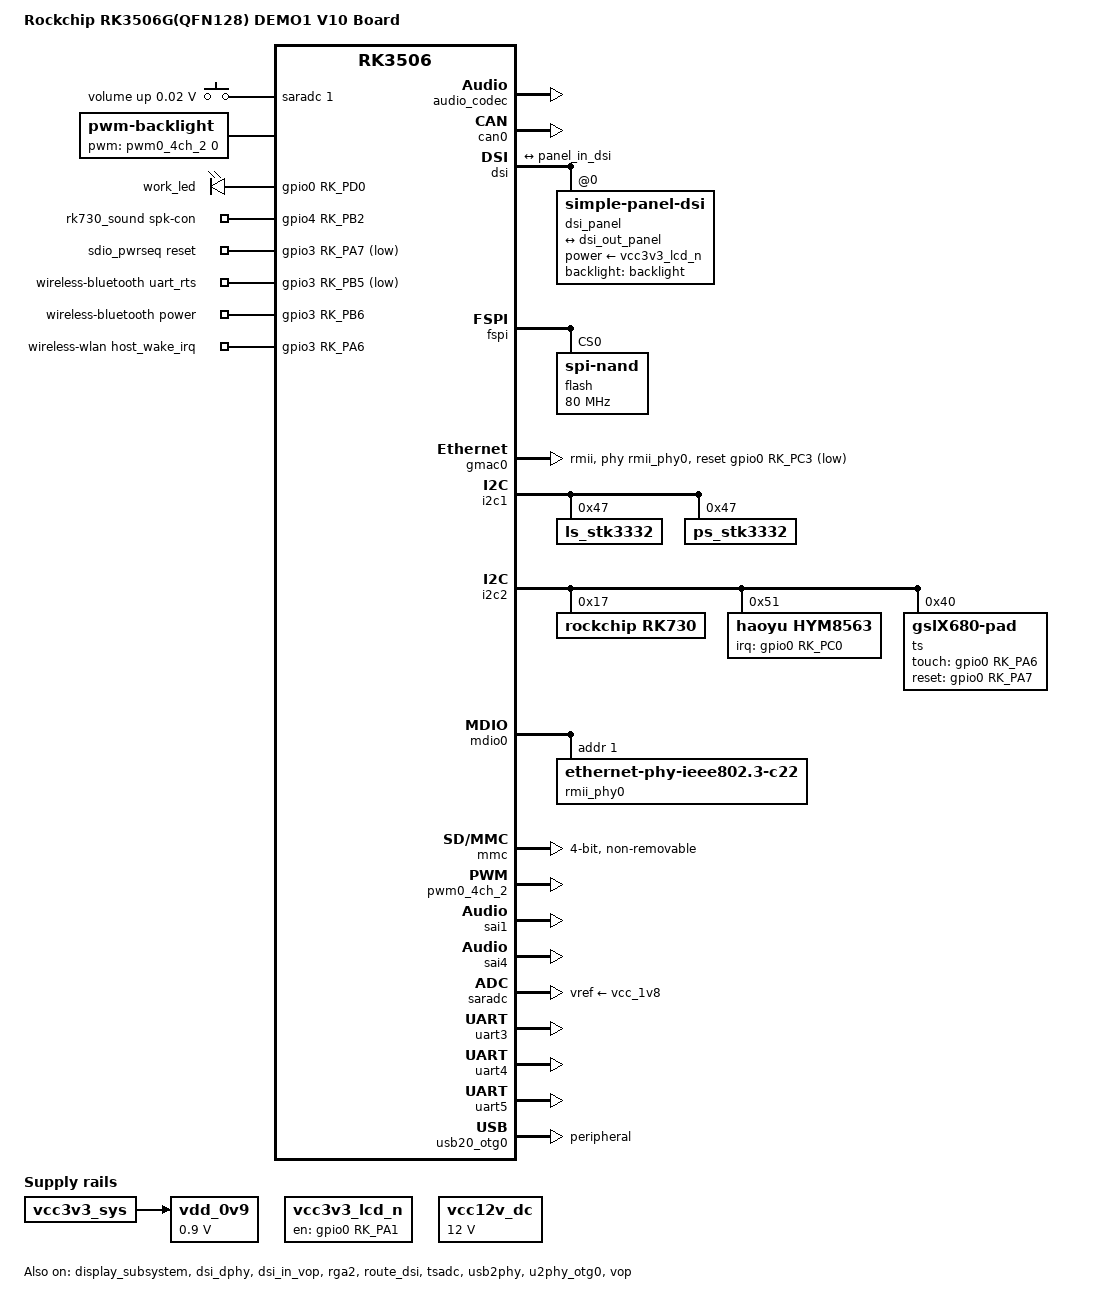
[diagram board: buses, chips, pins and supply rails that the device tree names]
// SPDX-License-Identifier: (GPL-2.0+ OR MIT)
/*
 * Copyright (c) 2024 Rockchip Electronics Co., Ltd.
 */

/dts-v1/;

#include <dt-bindings/display/drm_mipi_dsi.h>
#include <dt-bindings/input/rk-input.h>
#include <dt-bindings/sensor-dev.h>
#include "rk3506.dtsi"
#include "rk3506-rk801.dtsi"

/* TODO:
	1. RK801
	2. DISPLAY
	3. AUDIO
	4. ZIGBEE
	5. Light/Proximity Sensor
	6. GMAC (bottom board)
	---------------
	usb ? otg vbus
	rtc ? clk out
	--------------
	led require config: CONFIG_LEDS_TRIGGER_HEARTBEAT / CONFIG_LEDS_GPIO
	rtc require config: CONFIG_RTC_DRV_HYM8563
*/

/ {
	model = "Rockchip RK3506G(QFN128) DEMO1 V10  Board";
	compatible = "rockchip,rk3506g-demo-display-control", "rockchip,rk3506";

	chosen {
		bootargs = "earlycon=uart8250,mmio32,0xff0a0000 console=ttyFIQ0 ubi.mtd=5 ubi.block=0,rootfs root=/dev/ubiblock0_0 rootfstype=squashfs rootwait snd_aloop.index=7 snd_aloop.use_raw_jiffies=1 storagemedia=mtd androidboot.storagemedia=mtd androidboot.mode=normal";
	};

	adc_keys: adc-keys {
		compatible = "adc-keys";
		io-channels = <&saradc 1>;
		io-channel-names = "buttons";
		keyup-threshold-microvolt = <1800000>;
		poll-interval = <100>;

		vol-up-key {
			label = "volume up";
			linux,code = <KEY_VOLUMEUP>;
			press-threshold-microvolt = <20000>;
		};
	};

	backlight: backlight {
		compatible = "pwm-backlight";
		pwms = <&pwm0_4ch_2 0 25000 0>;
		brightness-levels = <
			  0  20  20  21  21  22  22  23
			 23  24  24  25  25  26  26  27
			 27  28  28  29  29  30  30  31
			 31  32  32  33  33  34  34  35
			 35  36  36  37  37  38  38  39
			 40  41  42  43  44  45  46  47
			 48  49  50  51  52  53  54  55
			 56  57  58  59  60  61  62  63
			 64  65  66  67  68  69  70  71
			 72  73  74  75  76  77  78  79
			 80  81  82  83  84  85  86  87
			 88  89  90  91  92  93  94  95
			 96  97  98  99 100 101 102 103
			104 105 106 107 108 109 110 111
			112 113 114 115 116 117 118 119
			120 121 122 123 124 125 126 127
			128 129 130 131 132 133 134 135
			136 137 138 139 140 141 142 143
			144 145 146 147 148 149 150 151
			152 153 154 155 156 157 158 159
			160 161 162 163 164 165 166 167
			168 169 170 171 172 173 174 175
			176 177 178 179 180 181 182 183
			184 185 186 187 188 189 190 191
			192 193 194 195 196 197 198 199
			200 201 202 203 204 205 206 207
			208 209 210 211 212 213 214 215
			216 217 218 219 220 221 222 223
			224 225 226 227 228 229 230 231
			232 233 234 235 236 237 238 239
			240 241 242 243 244 245 246 247
			248 249 250 251 252 253 254 255
		>;
		default-brightness-level = <200>;
		status = "okay";
	};

/*	extcon_usb: extcon-usb {
		compatible = "linux,extcon-usb-gpio";
		vbus-gpio = <&gpio1 RK_PC5 GPIO_ACTIVE_LOW>;
		pinctrl-names = "default";
		pinctrl-0 = <&usb_extcon_vbus>;
		status = "okay";
	};*/

	fiq_debugger: fiq-debugger {
		compatible = "rockchip,fiq-debugger";
		rockchip,serial-id = <0>;
		rockchip,wake-irq = <0>;
		rockchip,irq-mode-enable = <1>;
		rockchip,baudrate = <1500000>;	/* Only 115200 and 1500000 */
		interrupts = <GIC_SPI 115 IRQ_TYPE_LEVEL_HIGH>;
	};

	leds: leds {
		compatible = "gpio-leds";

		work_led: work-led {
			gpios = <&gpio0 RK_PD0 GPIO_ACTIVE_HIGH>;
			linux,default-trigger = "heartbeat";
		};
	};

	reserved-memory {
		#address-cells = <1>;
		#size-cells = <1>;
		ranges;

		cma: linux,cma {
			compatible = "shared-dma-pool";
			reusable;
			size = <0x2000000>;
			linux,cma-default;
		};

		drm_logo: drm-logo@0 {
			compatible = "rockchip,drm-logo";
			reg = <0x0 0x0>;
		};
	};

	/* Only lineout, no hpout */
	rk730_sound: rk730-sound {
		status = "okay";
		compatible = "rockchip,multicodecs-card";
		rockchip,card-name = "rockchip-rk730";
		spk-con-gpio = <&gpio4 RK_PB2 GPIO_ACTIVE_HIGH>;
		rockchip,pre-power-on-delay-ms = <30>;
		rockchip,post-power-down-delay-ms = <40>;
		rockchip,format = "i2s";
		rockchip,mclk-fs = <256>;
		rockchip,mclk-fs-mapping = <256 1024>;
		rockchip,cpu = <&sai_dais>;
		rockchip,codec = <&rk730>, <&audio_codec>;
		rockchip,audio-routing =
			"Headphone", "LOUT1",
			"Headphone", "ROUT1",
			"Speaker", "LOUT2",
			"Speaker", "ROUT2",
			"Headphone", "Headphone Power",
			"Headphone", "Headphone Power",
			"Speaker", "Speaker Power",
			"Speaker", "Speaker Power",
			"MIC2", "Main Mic",
			"MIC1", "Headset Mic";
	};

	sai_dais: sai-dais {
		status = "okay";
		compatible = "rockchip,multi-dais";
		dais = <&sai1>, <&sai4>;
		capture,channel-mapping = <2 2>;
		playback,channel-mapping = <2 0>;
		mclk-fs-mapping = <256 1024>;
	};

	sdio_pwrseq: sdio-pwrseq {
		compatible = "mmc-pwrseq-simple";
		pinctrl-names = "default";
		pinctrl-0 = <&wifi_enable_h>;

		/*
		 * On the module itself this is one of these (depending
		 * on the actual card populated):
		 * - SDIO_RESET_L_WL_REG_ON
		 * - PDN (power down when low)
		 */
		reset-gpios = <&gpio3 RK_PA7 GPIO_ACTIVE_LOW>;
	};

	vcc3v3_lcd_n: vcc3v3-lcd0-n {
		compatible = "regulator-fixed";
		enable-active-high;
		gpio = <&gpio0 RK_PA1 GPIO_ACTIVE_HIGH>;
		regulator-name = "vcc3v3_lcd_n";
		regulator-boot-on;
		regulator-state-mem {
			regulator-off-in-suspend;
		};
	};

	vcc12v_dc: vcc12v-dc {
		compatible = "regulator-fixed";
		regulator-name = "vcc12v_dc";
		regulator-always-on;
		regulator-boot-on;
		regulator-min-microvolt = <12000000>;
		regulator-max-microvolt = <12000000>;
	};

	vdd_0v9: vdd-0v9 {
		compatible = "regulator-fixed";
		regulator-name = "vdd_0v9";
		regulator-always-on;
		regulator-boot-on;
		regulator-min-microvolt = <900000>;
		regulator-max-microvolt = <900000>;
		vin-supply = <&vcc3v3_sys>;
	};

	wireless-bluetooth {
		compatible = "bluetooth-platdata";
		uart_rts_gpios = <&gpio3 RK_PB5 GPIO_ACTIVE_LOW>;
		pinctrl-names = "default", "rts_gpio";
		pinctrl-0 = <&uart5m0_rtsn_pins>;
		pinctrl-1 = <&uart5_gpios>;
		BT,power_gpio = <&gpio3 RK_PB6 GPIO_ACTIVE_HIGH>;
		status = "okay";
	};

	wireless-wlan {
		compatible = "wlan-platdata";
		rockchip,grf = <&grf>;
		pinctrl-names = "default";
		pinctrl-0 = <&wifi_wake_host>;
		wifi_chip_type = "rk960";
		WIFI,host_wake_irq = <&gpio3 RK_PA6 GPIO_ACTIVE_HIGH>;
		status = "okay";
	};
};

&audio_codec {
	status = "okay";
};

&can0 {
	assigned-clocks = <&cru CLK_CAN0>;
	assigned-clock-rates = <300000000>;
	pinctrl-0 = <&rm_io27_can0_tx &rm_io28_can0_rx>;
	pinctrl-names = "default";
	status = "okay";
};

&cpu0 {
	cpu-supply = <&vdd_cpu>;
	status = "okay";
};

&display_subsystem {
	logo-memory-region = <&drm_logo>;
	status = "okay";
};

&dsi {
	status = "okay";
	rockchip,lane-rate = <450>;
	dsi_panel: panel@0 {
		status = "okay";
		compatible = "simple-panel-dsi";
		reg = <0>;
		backlight = <&backlight>;
		prepare-delay-ms = <5>;
		reset-delay-ms = <1>;
		init-delay-ms = <80>;
		disable-delay-ms = <10>;
		unprepare-delay-ms = <5>;

		width-mm = <83>;
		height-mm = <83>;

		dsi,flags = <(MIPI_DSI_MODE_VIDEO | MIPI_DSI_MODE_VIDEO_BURST |
			      MIPI_DSI_MODE_LPM | MIPI_DSI_MODE_NO_EOT_PACKET)>;
		dsi,format = <MIPI_DSI_FMT_RGB888>;
		dsi,lanes  = <2>;
		panel-init-sequence = [
			39 00 06 ff 77 01 00 00 10
			39 00 03 c0 3b 00
			39 00 03 c1 0d 02
			39 00 03 c2 21 08
			39 00 11 b0 00 11 18 0e 11 06 07 08 07 22 04 12 0f aa 31 18
			39 00 11 b1 00 11 19 0e 12 07 08 08 08 22 04 11 11 a9 32 18
			39 00 06 ff 77 01 00 00 11
			15 00 02 b0 60
			15 00 02 b1 30
			15 00 02 b2 87
			15 00 02 b3 80
			15 00 02 b5 49
			15 00 02 b7 85
			15 00 02 b8 21
			15 00 02 c1 78
			15 14 02 c2 78
			39 00 04 e0 00 1b 02
			39 00 0c e1 08 a0 00 00 07 a0 00 00 00 44 44
			39 00 0d e2 11 11 44 44 ed a0 00 00 ec a0 00 00
			39 00 05 e3 00 00 11 11
			39 00 03 e4 44 44
			39 00 11 e5 0a e9 d8 a0 0c eb d8 a0 0e ed d8 a0 10 ef d8 a0
			39 00 05 e6 00 00 11 11
			39 00 03 e7 44 44
			39 00 11 e8 09 e8 d8 a0 0b ea d8 a0 0d ec d8 a0 0f ee d8 a0
			39 00 08 eb 02 00 e4 e4 88 00 40
			39 00 03 ec 3c 00
			39 00 11 ed ab 89 76 54 02 ff ff ff ff ff ff 20 45 67 98 ba
			/*
			39 00 06 ff 77 01 00 00 12
			15 00 02 d1 81
			15 00 02 d2 08
			*/
			39 00 06 ff 77 01 00 00 00
			15 00 02 36 00
			05 c8 01 11
			05 32 01 29
		];

		disp_timings0: display-timings {
			native-mode = <&dsi_timing0>;
			dsi_timing0: timing0 {
				clock-frequency = <20606400>;
				hactive = <480>;
				vactive = <480>;
				hfront-porch = <80>;
				hsync-len = <8>;
				hback-porch = <80>;
				vfront-porch = <18>;
				vsync-len = <2>;
				vback-porch = <30>;
				hsync-active = <0>;
				vsync-active = <0>;
				de-active = <0>;
				pixelclk-active = <0>;
			};
		};

		ports {
			#address-cells = <1>;
			#size-cells = <0>;

			port@0 {
				reg = <0>;
				panel_in_dsi: endpoint {
					remote-endpoint = <&dsi_out_panel>;
				};
			};
		};
	};

	ports {
		#address-cells = <1>;
		#size-cells = <0>;

		port@1 {
			reg = <1>;
			dsi_out_panel: endpoint {
				remote-endpoint = <&panel_in_dsi>;
			};
		};
	};

};

&dsi_dphy {
	status = "okay";
};

&dsi_in_vop {
	status = "okay";
};

&dsi_panel {
	power-supply = <&vcc3v3_lcd_n>;
};

&fspi {
	status = "okay";

	flash@0 {
		compatible = "spi-nand";
		reg = <0>;
		spi-max-frequency = <80000000>;
		spi-rx-bus-width = <4>;
		spi-tx-bus-width = <1>;
	};
};

&gmac0 {
	phy-mode = "rmii";
	clock_in_out = "output";

	snps,reset-gpio = <&gpio0 RK_PC3 GPIO_ACTIVE_LOW>;
	snps,reset-active-low;
	snps,reset-delays-us = <0 20000 100000>;

	pinctrl-names = "default";
	pinctrl-0 = <&eth_rmii0_miim_pins
		     &eth_rmii0_tx_bus2_pins
		     &eth_rmii0_rx_bus2_pins
		     &eth_rmii0_clk_pins>;

	phy-handle = <&rmii_phy0>;
	status = "okay";
};

&i2c1 {
	status = "okay";
	pinctrl-names = "default";
	pinctrl-0 = <&rm_io25_i2c1_scl &rm_io26_i2c1_sda>;

	ls_stk3332: light@47 {
		compatible = "ls_stk3332";
		reg = <0x47>;
		type = <SENSOR_TYPE_LIGHT>;
		irq_enable = <0>;
		als_threshold_high = <100>;
		als_threshold_low = <10>;
		als_ctrl_gain = <2>; /* 0:x1 1:x4 2:x16 3:x64 */
		poll_delay_ms = <100>;
		status = "okay";
	};

	ps_stk3332: proximity@47 {
		compatible = "ps_stk3332";
		reg = <0x47>;
		type = <SENSOR_TYPE_PROXIMITY>;
		//pinctrl-names = "default";
		//pinctrl-0 = <&stk_int_l>;
		//irq-gpio = <&gpio1 RK_PB6 IRQ_TYPE_LEVEL_LOW>;
		//irq_enable = <1>;
		ps_threshold_high = <0x64>;
		ps_threshold_low = <0x50>;
		ps_ctrl_gain = <3>; /* 0:x1 1:x2 2:x5 3:x8 */
		ps_led_current = <5>; /* 0:3.125mA 1:6.25mA 2:12.5mA 3:25mA 4:50mA 5:100mA*/
		poll_delay_ms = <100>;
		status = "okay";
	};
};

&i2c2 {
	status = "okay";
	pinctrl-names = "default";
	pinctrl-0 = <&rm_io4_i2c2_scl &rm_io5_i2c2_sda>;

	rk730: rk730@17 {
		#sound-dai-cells = <0>;
		compatible = "rockchip,rk730";
		reg = <0x17>;
		clocks = <&mclkout_sai1>;
		clock-names = "mclk";
		assigned-clocks = <&mclkout_sai1>;
		assigned-clock-rates = <12288000>;
		pinctrl-names = "default";
		pinctrl-0 = <&rm_io8_sai1_mclk>;
	};

	hym8563: hym8563@51 {
		compatible = "haoyu,hym8563";
		reg = <0x51>;
		//#clock-cells = <0>;
		//clock-frequency = <32768>;
		//clock-output-names = "hym8563";
		pinctrl-names = "default";
		pinctrl-0 = <&hym8563_int>;
		interrupt-parent = <&gpio0>;
		interrupts = <RK_PC0 IRQ_TYPE_LEVEL_LOW>;

		wakeup-source;
	};

	ts: ts@40 {
		compatible = "gslX680-pad";
		reg = <0x40>;
		touch-gpio = <&gpio0 RK_PA6 IRQ_TYPE_LEVEL_HIGH>;
		reset-gpio = <&gpio0 RK_PA7 IRQ_TYPE_LEVEL_HIGH>;
		pinctrl-names = "default";
		pinctrl-0 = <&tp_gpio>;
		screen_max_x = <480>;
		screen_max_y = <480>;
		revert_x = <0>;
		revert_y = <0>;
		revert_xy = <1>;
		chip_id = <2>;
		status = "okay";
	};
};

&mdio0 {
	rmii_phy0: phy@1 {
		compatible = "ethernet-phy-ieee802.3-c22";
		reg = <0x1>;
	};
};

&mmc {
	max-frequency = <30000000>;
	bus-width = <4>;
	cap-sd-highspeed;
	no-sd;
	no-mmc;
	pinctrl-names = "default";
	pinctrl-0 = <&sdmmc_clk_pins &sdmmc_cmd_pins &sdmmc_bus4_pins>;
	ignore-pm-notify;
	keep-power-in-suspend;
	non-removable;
	mmc-pwrseq = <&sdio_pwrseq>;
	//sd-uhs-sdr104;
	status = "okay";
};

&pinctrl {
	/* usb {
		usb_extcon_vbus: usb-extcon-vbus {
			rockchip,pins = <1 RK_PC5 RK_FUNC_GPIO &pcfg_pull_none>;
		};
	}; */

	hym8563 {
		hym8563_int: hy8563-int {
			rockchip,pins = <0 RK_PC0 RK_FUNC_GPIO &pcfg_pull_up>;
		};
	};

	pmic {
		pmic_int: pmic-int {
			rockchip,pins = <0 RK_PC2 RK_FUNC_GPIO &pcfg_pull_up>;
		};
	};

	psensor {
		stk_int_l: stk-int-l {
			rockchip,pins = <1 RK_PB6 RK_FUNC_GPIO &pcfg_pull_up>;
		};
	};

	sdio-pwrseq {
		wifi_enable_h: wifi-enable-h {
			rockchip,pins = <3 RK_PA7 RK_FUNC_GPIO &pcfg_pull_none>;
		};
	};


	tp {
		tp_gpio: tp-gpio {
			rockchip,pins = <0 RK_PA6 RK_FUNC_GPIO &pcfg_pull_none>,
					<0 RK_PA7 RK_FUNC_GPIO &pcfg_pull_down>;
		};
	};

	tsadc {
		wdt_tsadc_gpio: wdt-tsadc-gpio {
			rockchip,pins = <0 RK_PC5 RK_FUNC_GPIO &pcfg_pull_none>;
		};
	};

	wireless-bluetooth {
		uart5_gpios: uart5-gpios {
			rockchip,pins = <3 RK_PB5 RK_FUNC_GPIO &pcfg_pull_none>;
		};
	};

	wireless-wlan {
		wifi_wake_host: wifi-wake-host {
			rockchip,pins = <3 RK_PA6 RK_FUNC_GPIO &pcfg_pull_up>;
		};
	};
};

&pwm0_4ch_2 {
	pinctrl-names = "active";
	pinctrl-0 = <&rm_io3_pwm0_ch2>;
	status = "okay";
};

&rga2 {
	status = "okay";
};

&rockchip_suspend {
	rockchip,sleep-mode-config = <
		(0
		| RKPM_ARMOFF_DDRPD
		| RKPM_24M_OSC_DIS
		| RKPM_32K_CLK
		| RKPM_32K_SRC_RC
		| RKPM_PWM0_CH0_CORE_PWREN
		)
	>;

	rockchip,apios-suspend = <
		(0
		| RKPM_PWREN_CORE_GPIO0C1 | RKPM_PWREN_CORE_ACT_HIGH
		| RKPM_PWREN_SLEEP_GPIO0B5 | RKPM_PWREN_SLEEP_ACT_HIGH
		)
	>;
};

&route_dsi{
	status = "okay";
};

&sai1 {
	status = "okay";
	rockchip,mclk-no-set;
	pinctrl-names = "default";
	pinctrl-0 = <&rm_io9_sai1_sclk
		     &rm_io10_sai1_lrck
		     &rm_io11_sai1_sdi
		     &rm_io12_sai1_sdo0>;
};

&sai4 {
	status = "okay";
	rockchip,mclk-no-set;
};

&saradc {
	vref-supply = <&vcc_1v8>;
	status = "okay";
};

&tsadc {
	pinctrl-names = "gpio", "otpout";
	pinctrl-0 = <&wdt_tsadc_gpio>;
	pinctrl-1 = <&rm_io21_wdt_tsadc_shut>;

	status = "okay";
};

&uart3 {
	pinctrl-names = "default";
	pinctrl-0 = <&rm_io24_uart3_ctsn &rm_io29_uart3_rtsn &rm_io30_uart3_rx &rm_io31_uart3_tx>;
	status = "okay";
};

&uart4 {
	pinctrl-names = "default";
	pinctrl-0 = <&rm_io14_uart4_tx &rm_io15_uart4_rx>;
	linux,rs485-enabled-at-boot-time;
	status = "okay";
};

&uart5 {
	pinctrl-names = "default";
	pinctrl-0 = <&uart5m0_xfer_pins &uart5m0_ctsn_pins>;
	status = "okay";
};

&usb20_otg0 {
	dr_mode = "peripheral";
	/* vbus-supply = <&vcc5v0_otg0>;
	rockchip,gpio-vbus-det; */

	status = "okay";
};

&usb2phy {
	/* extcon = <&extcon_usb>; */
	status = "okay";
};

&u2phy_otg0 {
	status = "okay";
};

&vop {
	status = "okay";
};
